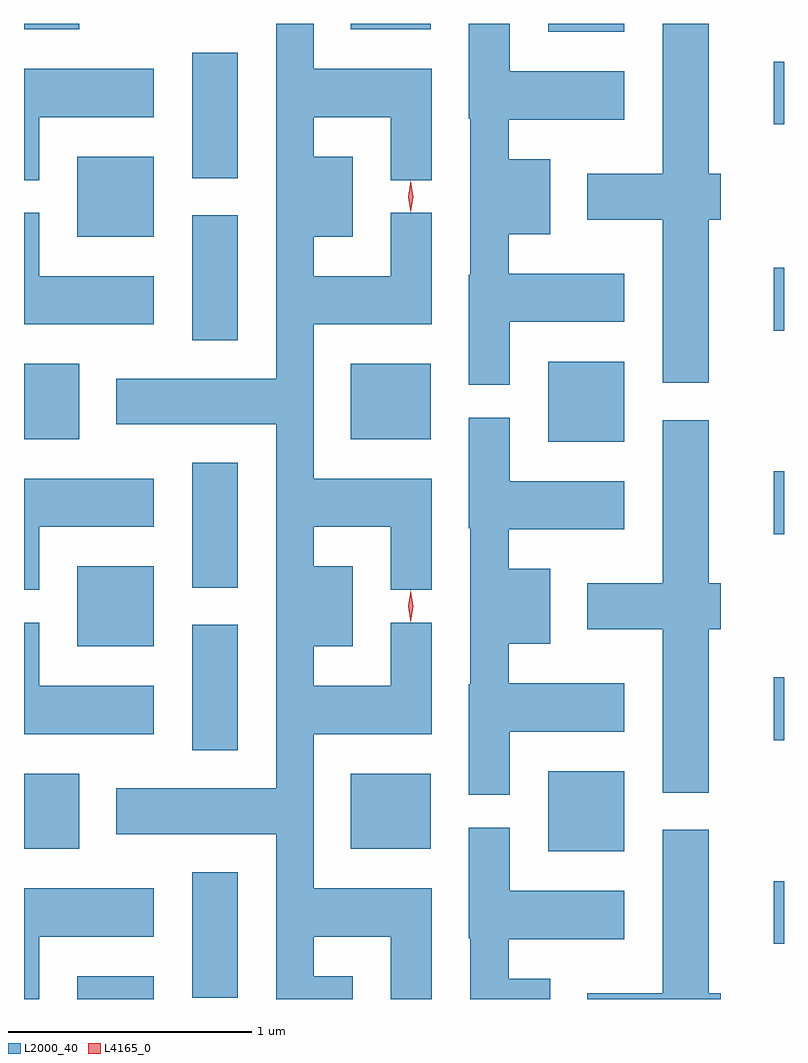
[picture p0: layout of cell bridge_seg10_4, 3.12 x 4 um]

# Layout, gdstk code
import gdstk
lib = gdstk.Library(unit=1e-6, precision=1e-09)
def R(c, l, rs):  # rectangles x0, y0, x1, y1
    for r in rs: c.add(gdstk.rectangle(r[:2], r[2:], *l))
def P(c, l, *ps):  # polygons
    for p in ps: c.add(gdstk.Polygon(p, *l))
L2000_40 = (2000, 40)
L4165_0 = (4165, 0)

bridge_seg10_4 = lib.new_cell('bridge_seg10_4')
R(bridge_seg10_4, L2000_40, [(1911.426,2164.199,1911.739,2164.294), (1911.896,2164.206,1912.084,2164.719), (1914.281,2164.426,1914.323,2164.684), (1913.356,2164.806,1913.669,2165.134), (1911.207,2164.816,1911.434,2165.124), (1912.546,2164.816,1912.874,2165.124), (1911.896,2165.221,1912.084,2165.734), (1914.281,2165.261,1914.323,2165.519), (1911.426,2165.646,1911.739,2165.974), (1911.896,2165.886,1912.084,2166.399), (1914.281,2166.106,1914.323,2166.364), (1913.356,2166.486,1913.669,2166.814), (1911.207,2166.496,1911.434,2166.804), (1912.546,2166.496,1912.874,2166.804), (1911.896,2166.901,1912.084,2167.414), (1914.281,2166.941,1914.323,2167.199), (1911.426,2167.326,1911.739,2167.654), (1911.896,2167.566,1912.084,2168.079), (1914.281,2167.786,1914.323,2168.044), (1913.356,2168.166,1913.669,2168.199), (1911.207,2168.176,1911.434,2168.199), (1912.546,2168.176,1912.874,2168.199)])
P(bridge_seg10_4, L2000_40, [(1911.586,2166.744),(1911.586,2166.556),(1912.241,2166.556),(1912.241,2165.064),(1911.586,2165.064),(1911.586,2164.876),(1912.241,2164.876),(1912.241,2164.199),(1912.554,2164.199),(1912.554,2164.294),(1912.394,2164.294),(1912.394,2164.456),(1912.711,2164.456),(1912.711,2164.199),(1912.879,2164.199),(1912.879,2164.654),(1912.394,2164.654),(1912.394,2165.286),(1912.879,2165.286),(1912.879,2165.743),(1912.711,2165.743),(1912.711,2165.484),(1912.394,2165.484),(1912.394,2165.646),(1912.554,2165.646),(1912.554,2165.974),(1912.394,2165.974),(1912.394,2166.136),(1912.711,2166.136),(1912.711,2165.878),(1912.879,2165.878),(1912.879,2166.334),(1912.394,2166.334),(1912.394,2166.966),(1912.879,2166.966),(1912.879,2167.423),(1912.711,2167.423),(1912.711,2167.164),(1912.394,2167.164),(1912.394,2167.326),(1912.554,2167.326),(1912.554,2167.654),(1912.394,2167.654),(1912.394,2167.816),(1912.711,2167.816),(1912.711,2167.558),(1912.879,2167.558),(1912.879,2168.014),(1912.394,2168.014),(1912.394,2168.199),(1912.241,2168.199),(1912.241,2166.744)],
  [(1914.014,2167.396),(1914.064,2167.396),(1914.064,2167.584),(1914.014,2167.584),(1914.014,2168.199),(1913.826,2168.199),(1913.826,2167.584),(1913.516,2167.584),(1913.516,2167.396),(1913.826,2167.396),(1913.826,2166.726),(1914.014,2166.726)],
  [(1913.199,2166.976),(1913.669,2166.976),(1913.669,2167.174),(1913.194,2167.174),(1913.194,2167.336),(1913.364,2167.336),(1913.364,2167.644),(1913.194,2167.644),(1913.194,2167.806),(1913.669,2167.806),(1913.669,2168.004),(1913.199,2168.004),(1913.199,2168.199),(1913.031,2168.199),(1913.031,2167.81),(1913.036,2167.81),(1913.036,2167.17),(1913.031,2167.17),(1913.031,2166.718),(1913.199,2166.718)],
  [(1911.269,2167.816),(1911.739,2167.816),(1911.739,2168.014),(1911.207,2168.014),(1911.207,2167.558),(1911.269,2167.558)],
  [(1911.739,2167.164),(1911.269,2167.164),(1911.269,2167.423),(1911.207,2167.423),(1911.207,2166.966),(1911.739,2166.966)],
  [(1913.199,2165.296),(1913.669,2165.296),(1913.669,2165.494),(1913.194,2165.494),(1913.194,2165.656),(1913.364,2165.656),(1913.364,2165.964),(1913.194,2165.964),(1913.194,2166.126),(1913.669,2166.126),(1913.669,2166.324),(1913.199,2166.324),(1913.199,2166.583),(1913.031,2166.583),(1913.031,2166.13),(1913.036,2166.13),(1913.036,2165.49),(1913.031,2165.49),(1913.031,2165.038),(1913.199,2165.038)],
  [(1914.014,2165.716),(1914.064,2165.716),(1914.064,2165.904),(1914.014,2165.904),(1914.014,2166.574),(1913.826,2166.574),(1913.826,2165.904),(1913.516,2165.904),(1913.516,2165.716),(1913.826,2165.716),(1913.826,2165.046),(1914.014,2165.046)],
  [(1911.269,2166.136),(1911.739,2166.136),(1911.739,2166.334),(1911.207,2166.334),(1911.207,2165.878),(1911.269,2165.878)],
  [(1911.739,2165.484),(1911.269,2165.484),(1911.269,2165.743),(1911.207,2165.743),(1911.207,2165.286),(1911.739,2165.286)],
  [(1913.364,2164.284),(1913.194,2164.284),(1913.194,2164.446),(1913.669,2164.446),(1913.669,2164.644),(1913.199,2164.644),(1913.199,2164.903),(1913.031,2164.903),(1913.031,2164.45),(1913.036,2164.45),(1913.036,2164.199),(1913.364,2164.199)],
  [(1914.064,2164.224),(1914.014,2164.224),(1914.014,2164.894),(1913.826,2164.894),(1913.826,2164.224),(1913.516,2164.224),(1913.516,2164.199),(1914.064,2164.199)],
  [(1911.269,2164.456),(1911.739,2164.456),(1911.739,2164.654),(1911.207,2164.654),(1911.207,2164.199),(1911.269,2164.199)])
P(bridge_seg10_4, L4165_0, [(1912.793,2165.744),(1912.792,2165.745),(1912.783,2165.81),(1912.792,2165.875),(1912.793,2165.876),(1912.793,2165.875),(1912.803,2165.81),(1912.793,2165.745)],
  [(1912.793,2167.424),(1912.792,2167.425),(1912.783,2167.49),(1912.792,2167.555),(1912.793,2167.556),(1912.793,2167.555),(1912.803,2167.49),(1912.793,2167.425)])

lib.write_gds('bridge_seg10_4.gds')
